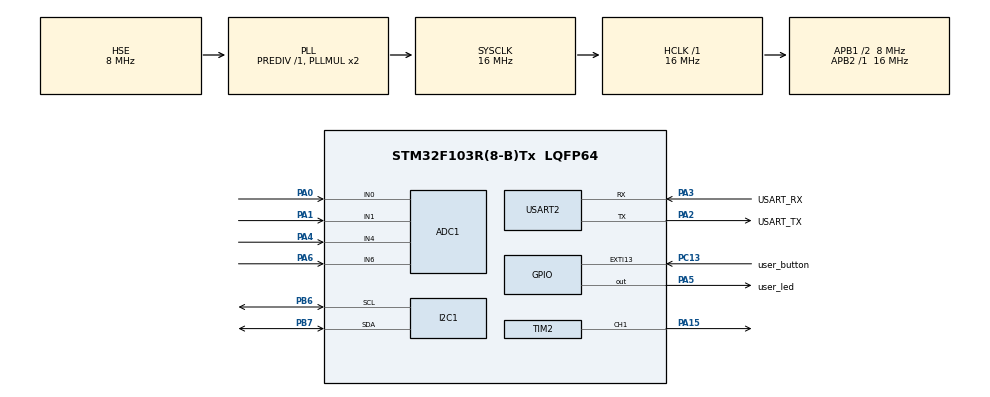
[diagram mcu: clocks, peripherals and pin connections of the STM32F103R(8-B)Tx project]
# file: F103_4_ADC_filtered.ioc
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ADC1.Channel-0\#ChannelRegularConversion=ADC_CHANNEL_0
ADC1.Channel-1\#ChannelRegularConversion=ADC_CHANNEL_1
ADC1.Channel-2\#ChannelRegularConversion=ADC_CHANNEL_4
ADC1.Channel-3\#ChannelRegularConversion=ADC_CHANNEL_6
ADC1.Channel-4\#ChannelRegularConversion=ADC_CHANNEL_VREFINT
ADC1.ContinuousConvMode=ENABLE
ADC1.NbrOfConversion=5
ADC1.NbrOfConversionFlag=1
ADC1.Rank-0\#ChannelRegularConversion=1
ADC1.Rank-1\#ChannelRegularConversion=2
ADC1.Rank-2\#ChannelRegularConversion=3
ADC1.Rank-3\#ChannelRegularConversion=4
ADC1.Rank-4\#ChannelRegularConversion=5
ADC1.SamplingTime-0\#ChannelRegularConversion=ADC_SAMPLETIME_239CYCLES_5
ADC1.SamplingTime-1\#ChannelRegularConversion=ADC_SAMPLETIME_239CYCLES_5
ADC1.SamplingTime-2\#ChannelRegularConversion=ADC_SAMPLETIME_1CYCLE_5
ADC1.SamplingTime-3\#ChannelRegularConversion=ADC_SAMPLETIME_239CYCLES_5
ADC1.SamplingTime-4\#ChannelRegularConversion=ADC_SAMPLETIME_239CYCLES_5
ADC1.master=1
Dma.ADC1.0.Direction=DMA_PERIPH_TO_MEMORY
Dma.ADC1.0.Instance=DMA1_Channel1
Dma.ADC1.0.MemDataAlignment=DMA_MDATAALIGN_WORD
Dma.ADC1.0.MemInc=DMA_MINC_ENABLE
Dma.ADC1.0.Mode=DMA_CIRCULAR
Dma.ADC1.0.PeriphDataAlignment=DMA_PDATAALIGN_WORD
Dma.ADC1.0.PeriphInc=DMA_PINC_DISABLE
Dma.ADC1.0.Priority=DMA_PRIORITY_LOW
Dma.Request0=ADC1
I2C1.I2C_Mode=I2C_Standard
Mcu.Family=STM32F1
Mcu.Name=STM32F103R(8-B)Tx
Mcu.Package=LQFP64
NVIC.DMA1_Channel1_IRQn=true\:0\:0\:false\:false\:true\:false\:true\:true
NVIC.EXTI15_10_IRQn=true\:0\:0\:false\:false\:true\:true\:true\:true
NVIC.PriorityGroup=NVIC_PRIORITYGROUP_4
NVIC.TIM3_IRQn=true\:0\:0\:false\:false\:true\:true\:true\:true
PA0-WKUP.Signal=ADCx_IN0
PA1.Signal=ADCx_IN1
PA13.GPIO_Label=TMS
PA13.Mode=Serial_Wire
PA13.Signal=SYS_JTMS-SWDIO
PA14.GPIO_Label=TCK
PA14.Mode=Serial_Wire
PA14.Signal=SYS_JTCK-SWCLK
PA15.Signal=S_TIM2_CH1_ETR
PA2.GPIO_Label=USART_TX
PA2.GPIO_Mode=GPIO_MODE_AF_PP
PA2.GPIO_PuPd=GPIO_NOPULL
PA2.GPIO_Speed=GPIO_SPEED_FREQ_LOW
PA2.Mode=Asynchronous
PA2.Signal=USART2_TX
PA3.GPIO_Label=USART_RX
PA3.GPIO_Mode=GPIO_MODE_AF_PP
PA3.GPIO_PuPd=GPIO_NOPULL
PA3.GPIO_Speed=GPIO_SPEED_FREQ_LOW
PA3.Mode=Asynchronous
PA3.Signal=USART2_RX
PA4.Signal=ADCx_IN4
PA5.GPIO_Label=user_led
PA5.GPIO_ModeDefaultOutputPP=GPIO_MODE_OUTPUT_PP
PA5.GPIO_PuPd=GPIO_NOPULL
PA5.GPIO_Speed=GPIO_SPEED_FREQ_LOW
PA5.Signal=GPIO_Output
PA6.Signal=ADCx_IN6
PB3.GPIO_Label=SWO
PB3.Signal=SYS_JTDO-TRACESWO
PB6.Mode=I2C
PB6.Signal=I2C1_SCL
PB7.Mode=I2C
PB7.Signal=I2C1_SDA
PC13-TAMPER-RTC.GPIO_Label=user_button
PC13-TAMPER-RTC.GPIO_PuPd=GPIO_NOPULL
PC13-TAMPER-RTC.Signal=GPXTI13
PC14-OSC32_IN.Mode=LSE-External-Oscillator
PC14-OSC32_IN.Signal=RCC_OSC32_IN
PC15-OSC32_OUT.Mode=LSE-External-Oscillator
PC15-OSC32_OUT.Signal=RCC_OSC32_OUT
PD0-OSC_IN.Mode=HSE-External-Oscillator
PD0-OSC_IN.Signal=RCC_OSC_IN
PD1-OSC_OUT.Mode=HSE-External-Oscillator
PD1-OSC_OUT.Signal=RCC_OSC_OUT
ProjectManager.HeapSize=0x200
ProjectManager.StackSize=0x400
ProjectManager.TargetToolchain=STM32CubeIDE
RCC.AHBFreq_Value=16000000
RCC.APB1CLKDivider=RCC_HCLK_DIV2
RCC.APB1Freq_Value=8000000
RCC.APB1TimFreq_Value=16000000
RCC.APB2Freq_Value=16000000
RCC.APB2TimFreq_Value=16000000
RCC.HCLKFreq_Value=16000000
RCC.PLLSourceVirtual=RCC_PLLSOURCE_HSE
RCC.RTCClockSelection=RCC_RTCCLKSOURCE_LSE
RCC.SYSCLKFreq_VALUE=16000000
RCC.SYSCLKSource=RCC_SYSCLKSOURCE_PLLCLK
RCC.USBFreq_Value=16000000
SH.ADCx_IN0.0=ADC1_IN0,IN0
SH.ADCx_IN1.0=ADC1_IN1,IN1
SH.ADCx_IN4.0=ADC1_IN4,IN4
SH.ADCx_IN6.0=ADC1_IN6,IN6
SH.S_TIM2_CH1_ETR.0=TIM2_CH1,PWM Generation1 CH1
TIM2.Channel-PWM\ Generation1\ CH1=TIM_CHANNEL_1
TIM2.Period=100
TIM2.Prescaler=71
TIM2.Pulse-PWM\ Generation1\ CH1=50
TIM3.Period=1
TIM3.Prescaler=719
USART2.VirtualMode=VM_ASYNC
VP_ADC1_Vref_Input.Mode=IN-Vrefint
VP_TIM3_VS_ClockSourceINT.Mode=Internal
board=NUCLEO-F103RB

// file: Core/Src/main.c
/* USER CODE BEGIN Header */
/**
  ******************************************************************************
  * @file           : main.c
  * @brief          : Main program body
  ******************************************************************************
  * @attention
  *
  * Copyright (c) 2022 STMicroelectronics.
  * All rights reserved.
  *
  * This software is licensed under terms that can be found in the LICENSE file
  * in the root directory of this software component.
  * If no LICENSE file comes with this software, it is provided AS-IS.
  *
  ******************************************************************************
  */
/* USER CODE END Header */
#include "main.h"

/* USER CODE BEGIN Includes */
#include "SMA_filter_lib.h"
#include "lcd1602_i2c_lib.h"
#include <stdbool.h>
#include <stdio.h>
/* USER CODE END Includes */

/* USER CODE BEGIN PD */
#define ADC_MAX 0xFFF
#define VOLT_MAX ((float)3.3f)
#define mkRefVcc ((float)1.205f)
#define MIN_VAL_ADC_1 (-100)
#define MAX_VAL_ADC_1 (500U)
#define MIN_VAL_ADC_2 (-100)
#define MAX_VAL_ADC_2 (500U)
#define MIN_VAL_ADC_3 (-100)
#define MAX_VAL_ADC_3 (500U)
#define MIN_VAL_ADC_4 (-100)
#define MAX_VAL_ADC_4 (500U)
/* USER CODE END PD */

ADC_HandleTypeDef hadc1;
DMA_HandleTypeDef hdma_adc1;

I2C_HandleTypeDef hi2c1;

TIM_HandleTypeDef htim2;
TIM_HandleTypeDef htim3;

UART_HandleTypeDef huart2;

/* USER CODE BEGIN PV */
unsigned long t_led = 0;
bool led_direction = 0;
int8_t led_pwm = 0;
extern uint16_t ADC_SMA_Data[5];
extern bool adc_flag;
extern char tx_buffer_lcd[40];
uint8_t procent_init_lcd = 0;
bool lcd_init_flag = 0;
bool lcd_print_adc = 0;
bool lcd_print_voltage = 0;
bool lcd_print_conversation_val = 0;
volatile uint8_t mode_lcd = 0;
float adc_ref_volt = 0.0f;
/* USER CODE END PV */

void SystemClock_Config(void);
static void MX_GPIO_Init(void);
static void MX_DMA_Init(void);
static void MX_USART2_UART_Init(void);
static void MX_ADC1_Init(void);
static void MX_I2C1_Init(void);
static void MX_TIM3_Init(void);
static void MX_TIM2_Init(void);
/* USER CODE BEGIN PFP */
void print_adc(void);
float adc_to_volt(uint16_t adc_val);
float conversation_adc_to_val(float x, float in_min, float in_max, float out_min, float out_max);
void select_lcd_mode(void);
float vRef_volt_adc(void);
void led_work(void);
/* USER CODE END PFP */

int main(void)
{

  /* MCU Configuration--------------------------------------------------------*/

  /* Reset of all peripherals, Initializes the Flash interface and the Systick. */
  HAL_Init();

  /* Configure the system clock */
  SystemClock_Config();

  /* Initialize all configured peripherals */
  MX_GPIO_Init();
  MX_DMA_Init();
  MX_USART2_UART_Init();
  MX_ADC1_Init();
  MX_I2C1_Init();
  MX_TIM3_Init();
  MX_TIM2_Init();
  /* USER CODE BEGIN 2 */
  t_led = HAL_GetTick();
  HAL_Delay(100);
  HAL_TIM_Base_Start_IT(&htim3);
  HAL_TIM_PWM_Start(&htim2, TIM_CHANNEL_1);
  while(!lcd_init_flag){
	  lcd1602_SetCursor(1, 0);
	  sprintf(tx_buffer_lcd, "Initialization..");
	  lcd1602_Print_text(tx_buffer_lcd);
	  lcd1602_SetCursor(2, 0);
	  sprintf(tx_buffer_lcd, "    %d    ", procent_init_lcd);
	  lcd1602_Print_text(tx_buffer_lcd);
	  procent_init_lcd += 2;
	  HAL_Delay(20);
	  if(procent_init_lcd >= 100){
		  lcd_init_flag = 1;
	  }
  }
  /* USER CODE END 2 */

  /* Infinite loop */
  /* USER CODE BEGIN WHILE */
  while (1)
  {
	  select_lcd_mode();
	  print_adc();
	  led_work();
    /* USER CODE END WHILE */

  }
}

void SystemClock_Config(void)
{
  RCC_OscInitTypeDef RCC_OscInitStruct = {0};
  RCC_ClkInitTypeDef RCC_ClkInitStruct = {0};
  RCC_PeriphCLKInitTypeDef PeriphClkInit = {0};

  /** Initializes the RCC Oscillators according to the specified parameters
  * in the RCC_OscInitTypeDef structure.
  */
  RCC_OscInitStruct.OscillatorType = RCC_OSCILLATORTYPE_HSE;
  RCC_OscInitStruct.HSEState = RCC_HSE_ON;
  RCC_OscInitStruct.HSEPredivValue = RCC_HSE_PREDIV_DIV1;
  RCC_OscInitStruct.HSIState = RCC_HSI_ON;
  RCC_OscInitStruct.PLL.PLLState = RCC_PLL_ON;
  RCC_OscInitStruct.PLL.PLLSource = RCC_PLLSOURCE_HSE;
  RCC_OscInitStruct.PLL.PLLMUL = RCC_PLL_MUL2;
  if (HAL_RCC_OscConfig(&RCC_OscInitStruct) != HAL_OK)
  {
    Error_Handler();
  }

  /** Initializes the CPU, AHB and APB buses clocks
  */
  RCC_ClkInitStruct.ClockType = RCC_CLOCKTYPE_HCLK|RCC_CLOCKTYPE_SYSCLK
                              |RCC_CLOCKTYPE_PCLK1|RCC_CLOCKTYPE_PCLK2;
  RCC_ClkInitStruct.SYSCLKSource = RCC_SYSCLKSOURCE_PLLCLK;
  RCC_ClkInitStruct.AHBCLKDivider = RCC_SYSCLK_DIV1;
  RCC_ClkInitStruct.APB1CLKDivider = RCC_HCLK_DIV2;
  RCC_ClkInitStruct.APB2CLKDivider = RCC_HCLK_DIV1;

  if (HAL_RCC_ClockConfig(&RCC_ClkInitStruct, FLASH_LATENCY_0) != HAL_OK)
  {
    Error_Handler();
  }
  PeriphClkInit.PeriphClockSelection = RCC_PERIPHCLK_ADC;
  PeriphClkInit.AdcClockSelection = RCC_ADCPCLK2_DIV2;
  if (HAL_RCCEx_PeriphCLKConfig(&PeriphClkInit) != HAL_OK)
  {
    Error_Handler();
  }
}

static void MX_ADC1_Init(void)
{

  ADC_ChannelConfTypeDef sConfig = {0};

  /** Common config
  */
  hadc1.Instance = ADC1;
  hadc1.Init.ScanConvMode = ADC_SCAN_ENABLE;
  hadc1.Init.ContinuousConvMode = ENABLE;
  hadc1.Init.DiscontinuousConvMode = DISABLE;
  hadc1.Init.ExternalTrigConv = ADC_SOFTWARE_START;
  hadc1.Init.DataAlign = ADC_DATAALIGN_RIGHT;
  hadc1.Init.NbrOfConversion = 5;
  if (HAL_ADC_Init(&hadc1) != HAL_OK)
  {
    Error_Handler();
  }

  /** Configure Regular Channel
  */
  sConfig.Channel = ADC_CHANNEL_0;
  sConfig.Rank = ADC_REGULAR_RANK_1;
  sConfig.SamplingTime = ADC_SAMPLETIME_239CYCLES_5;
  if (HAL_ADC_ConfigChannel(&hadc1, &sConfig) != HAL_OK)
  {
    Error_Handler();
  }

  /** Configure Regular Channel
  */
  sConfig.Channel = ADC_CHANNEL_1;
  sConfig.Rank = ADC_REGULAR_RANK_2;
  if (HAL_ADC_ConfigChannel(&hadc1, &sConfig) != HAL_OK)
  {
    Error_Handler();
  }

  /** Configure Regular Channel
  */
  sConfig.Channel = ADC_CHANNEL_4;
  sConfig.Rank = ADC_REGULAR_RANK_3;
  sConfig.SamplingTime = ADC_SAMPLETIME_1CYCLE_5;
  if (HAL_ADC_ConfigChannel(&hadc1, &sConfig) != HAL_OK)
  {
    Error_Handler();
  }

  /** Configure Regular Channel
  */
  sConfig.Channel = ADC_CHANNEL_6;
  sConfig.Rank = ADC_REGULAR_RANK_4;
  sConfig.SamplingTime = ADC_SAMPLETIME_239CYCLES_5;
  if (HAL_ADC_ConfigChannel(&hadc1, &sConfig) != HAL_OK)
  {
    Error_Handler();
  }

  /** Configure Regular Channel
  */
  sConfig.Channel = ADC_CHANNEL_VREFINT;
  sConfig.Rank = ADC_REGULAR_RANK_5;
  if (HAL_ADC_ConfigChannel(&hadc1, &sConfig) != HAL_OK)
  {
    Error_Handler();
  }

}

static void MX_I2C1_Init(void)
{

  hi2c1.Instance = I2C1;
  hi2c1.Init.ClockSpeed = 100000;
  hi2c1.Init.DutyCycle = I2C_DUTYCYCLE_2;
  hi2c1.Init.OwnAddress1 = 0;
  hi2c1.Init.AddressingMode = I2C_ADDRESSINGMODE_7BIT;
  hi2c1.Init.DualAddressMode = I2C_DUALADDRESS_DISABLE;
  hi2c1.Init.OwnAddress2 = 0;
  hi2c1.Init.GeneralCallMode = I2C_GENERALCALL_DISABLE;
  hi2c1.Init.NoStretchMode = I2C_NOSTRETCH_DISABLE;
  if (HAL_I2C_Init(&hi2c1) != HAL_OK)
  {
    Error_Handler();
  }

}

static void MX_TIM2_Init(void)
{

  TIM_MasterConfigTypeDef sMasterConfig = {0};
  TIM_OC_InitTypeDef sConfigOC = {0};

  htim2.Instance = TIM2;
  htim2.Init.Prescaler = 71;
  htim2.Init.CounterMode = TIM_COUNTERMODE_UP;
  htim2.Init.Period = 100;
  htim2.Init.ClockDivision = TIM_CLOCKDIVISION_DIV1;
  htim2.Init.AutoReloadPreload = TIM_AUTORELOAD_PRELOAD_DISABLE;
  if (HAL_TIM_PWM_Init(&htim2) != HAL_OK)
  {
    Error_Handler();
  }
  sMasterConfig.MasterOutputTrigger = TIM_TRGO_RESET;
  sMasterConfig.MasterSlaveMode = TIM_MASTERSLAVEMODE_DISABLE;
  if (HAL_TIMEx_MasterConfigSynchronization(&htim2, &sMasterConfig) != HAL_OK)
  {
    Error_Handler();
  }
  sConfigOC.OCMode = TIM_OCMODE_PWM1;
  sConfigOC.Pulse = 50;
  sConfigOC.OCPolarity = TIM_OCPOLARITY_HIGH;
  sConfigOC.OCFastMode = TIM_OCFAST_DISABLE;
  if (HAL_TIM_PWM_ConfigChannel(&htim2, &sConfigOC, TIM_CHANNEL_1) != HAL_OK)
  {
    Error_Handler();
  }
  HAL_TIM_MspPostInit(&htim2);

}

static void MX_TIM3_Init(void)
{

  TIM_ClockConfigTypeDef sClockSourceConfig = {0};
  TIM_MasterConfigTypeDef sMasterConfig = {0};

  htim3.Instance = TIM3;
  htim3.Init.Prescaler = 719;
  htim3.Init.CounterMode = TIM_COUNTERMODE_UP;
  htim3.Init.Period = 1;
  htim3.Init.ClockDivision = TIM_CLOCKDIVISION_DIV1;
  htim3.Init.AutoReloadPreload = TIM_AUTORELOAD_PRELOAD_DISABLE;
  if (HAL_TIM_Base_Init(&htim3) != HAL_OK)
  {
    Error_Handler();
  }
  sClockSourceConfig.ClockSource = TIM_CLOCKSOURCE_INTERNAL;
  if (HAL_TIM_ConfigClockSource(&htim3, &sClockSourceConfig) != HAL_OK)
  {
    Error_Handler();
  }
  sMasterConfig.MasterOutputTrigger = TIM_TRGO_RESET;
  sMasterConfig.MasterSlaveMode = TIM_MASTERSLAVEMODE_DISABLE;
  if (HAL_TIMEx_MasterConfigSynchronization(&htim3, &sMasterConfig) != HAL_OK)
  {
    Error_Handler();
  }

}

static void MX_USART2_UART_Init(void)
{

  huart2.Instance = USART2;
  huart2.Init.BaudRate = 115200;
  huart2.Init.WordLength = UART_WORDLENGTH_8B;
  huart2.Init.StopBits = UART_STOPBITS_1;
  huart2.Init.Parity = UART_PARITY_NONE;
  huart2.Init.Mode = UART_MODE_TX_RX;
  huart2.Init.HwFlowCtl = UART_HWCONTROL_NONE;
  huart2.Init.OverSampling = UART_OVERSAMPLING_16;
  if (HAL_UART_Init(&huart2) != HAL_OK)
  {
    Error_Handler();
  }

}

static void MX_DMA_Init(void)
{

  /* DMA controller clock enable */
  __HAL_RCC_DMA1_CLK_ENABLE();

  /* DMA interrupt init */
  /* DMA1_Channel1_IRQn interrupt configuration */
  HAL_NVIC_SetPriority(DMA1_Channel1_IRQn, 0, 0);
  HAL_NVIC_EnableIRQ(DMA1_Channel1_IRQn);

}

static void MX_GPIO_Init(void)
{
  GPIO_InitTypeDef GPIO_InitStruct = {0};

  /* GPIO Ports Clock Enable */
  __HAL_RCC_GPIOC_CLK_ENABLE();
  __HAL_RCC_GPIOD_CLK_ENABLE();
  __HAL_RCC_GPIOA_CLK_ENABLE();
  __HAL_RCC_GPIOB_CLK_ENABLE();

  /*Configure GPIO pin Output Level */
  HAL_GPIO_WritePin(user_led_GPIO_Port, user_led_Pin, GPIO_PIN_RESET);

  /*Configure GPIO pin : user_button_Pin */
  GPIO_InitStruct.Pin = user_button_Pin;
  GPIO_InitStruct.Mode = GPIO_MODE_IT_RISING;
  GPIO_InitStruct.Pull = GPIO_NOPULL;
  HAL_GPIO_Init(user_button_GPIO_Port, &GPIO_InitStruct);

  /*Configure GPIO pin : user_led_Pin */
  GPIO_InitStruct.Pin = user_led_Pin;
  GPIO_InitStruct.Mode = GPIO_MODE_OUTPUT_PP;
  GPIO_InitStruct.Pull = GPIO_NOPULL;
  GPIO_InitStruct.Speed = GPIO_SPEED_FREQ_LOW;
  HAL_GPIO_Init(user_led_GPIO_Port, &GPIO_InitStruct);

  /* EXTI interrupt init*/
  HAL_NVIC_SetPriority(EXTI15_10_IRQn, 0, 0);
  HAL_NVIC_EnableIRQ(EXTI15_10_IRQn);

}

/* USER CODE BEGIN 4 */
void print_adc(){
	if(adc_flag){
		if(lcd_print_adc){
			lcd1602_SetCursor(0, 0);
			sprintf(tx_buffer_lcd, "ADC_CH_1 %d", ADC_SMA_Data[0]);
			lcd1602_Print_text(tx_buffer_lcd);
			lcd1602_SetCursor(1, 0);
			sprintf(tx_buffer_lcd, "ADC_CH_2 %d", ADC_SMA_Data[1]);
			lcd1602_Print_text(tx_buffer_lcd);
			lcd1602_SetCursor(2, 0);
			sprintf(tx_buffer_lcd, "ADC_CH_3 %d", ADC_SMA_Data[2]);
			lcd1602_Print_text(tx_buffer_lcd);
			lcd1602_SetCursor(3, 0);
			sprintf(tx_buffer_lcd, "ADC_CH_4 %d", ADC_SMA_Data[3]);
			lcd1602_Print_text(tx_buffer_lcd);
			adc_flag = 0;
		}
		else if(lcd_print_voltage){
			lcd1602_SetCursor(0, 0);
			sprintf(tx_buffer_lcd, "ADC voltage %.2f", adc_to_volt(ADC_SMA_Data[0]));
			lcd1602_Print_text(tx_buffer_lcd);
			lcd1602_SetCursor(1, 0);
			sprintf(tx_buffer_lcd, "ADC voltage %.2f", adc_to_volt(ADC_SMA_Data[1]));
			lcd1602_Print_text(tx_buffer_lcd);
			lcd1602_SetCursor(2, 0);
			sprintf(tx_buffer_lcd, "ADC voltage %.2f", adc_to_volt(ADC_SMA_Data[2]));
			lcd1602_Print_text(tx_buffer_lcd);
			lcd1602_SetCursor(3, 0);
			sprintf(tx_buffer_lcd, "ADC voltage %.2f", adc_to_volt(ADC_SMA_Data[3]));
			lcd1602_Print_text(tx_buffer_lcd);
			adc_flag = 0;
		}
		else if(lcd_print_conversation_val){
			lcd1602_SetCursor(0, 0);
			sprintf(tx_buffer_lcd, "Conv. val_1 %.2f", conversation_adc_to_val(ADC_SMA_Data[0], MIN_VAL_ADC_1, MAX_VAL_ADC_1, 0, ADC_MAX));
			lcd1602_Print_text(tx_buffer_lcd);
			lcd1602_SetCursor(1, 0);
			sprintf(tx_buffer_lcd, "Conv. val_2 %.2f", conversation_adc_to_val(ADC_SMA_Data[1], MIN_VAL_ADC_2, MAX_VAL_ADC_2, 0, ADC_MAX));
			lcd1602_Print_text(tx_buffer_lcd);
			lcd1602_SetCursor(2, 0);
			sprintf(tx_buffer_lcd, "Conv. val_3 %.2f", conversation_adc_to_val(ADC_SMA_Data[2], MIN_VAL_ADC_3, MAX_VAL_ADC_3, 0, ADC_MAX));
			lcd1602_Print_text(tx_buffer_lcd);
			lcd1602_SetCursor(3, 0);
			sprintf(tx_buffer_lcd, "Conv. val_4 %.2f", conversation_adc_to_val(ADC_SMA_Data[3], MIN_VAL_ADC_4, MAX_VAL_ADC_4, 0, ADC_MAX));
			lcd1602_Print_text(tx_buffer_lcd);
			adc_flag = 0;
		}

	}
}

float adc_to_volt(uint16_t adc_val){
	return ((float)adc_val * vRef_volt_adc());

}

float conversation_adc_to_val(float x, float in_min, float in_max, float out_min, float out_max) {
  return (x - in_min) * (out_max - out_min) / (in_max - in_min) + out_min;
}

void HAL_GPIO_EXTI_Callback(uint16_t GPIO_Pin){
	if(GPIO_Pin = GPIO_PIN_13){
		mode_lcd += mode_lcd;
		if(mode_lcd > 2){
			mode_lcd = 0;
		}
	}
}

void select_lcd_mode(){
	switch (mode_lcd) {
	case 0:
		lcd_print_adc = 1;
		lcd_print_voltage = 0;
		lcd_print_conversation_val = 0;
		break;
	case 1:
		lcd_print_adc = 0;
		lcd_print_voltage = 1;
		lcd_print_conversation_val = 0;
		break;
	case 2:
		lcd_print_adc = 0;
		lcd_print_voltage = 0;
		lcd_print_conversation_val = 1;
		break;
	}
}

float vRef_volt_adc(){
	return mkRefVcc / ADC_SMA_Data[4];
}

void led_work(){
	if(HAL_GetTick() - t_led > 30){
		t_led = HAL_GetTick();
		if(led_direction){
			led_pwm += 1;
			if(led_pwm >= 100){
				led_direction = 0;
			}
		}
		else if(!led_direction){
			led_pwm -= 1;
			if(led_pwm <= 0){
				led_direction = 1;
			}
		}
		TIM2->CCR1 = led_pwm;

	}
}
/* USER CODE END 4 */

void Error_Handler(void)
{
  __disable_irq();
  while (1)
  {
  }
}
